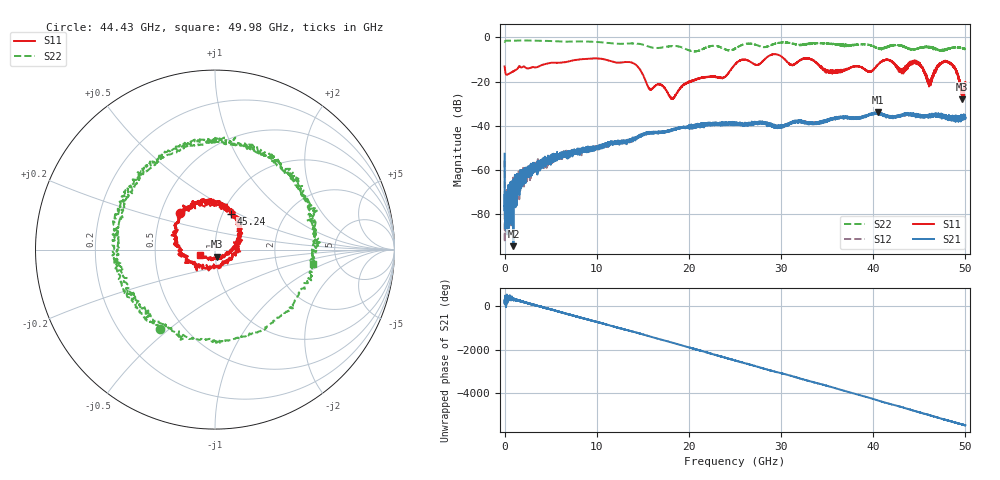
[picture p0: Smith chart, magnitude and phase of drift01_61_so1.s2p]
!Created with skrf (http://scikit-rf.org).
# Hz S RI R 50.0
!freq ReS11 ImS11 ReS21 ImS21 ReS12 ImS12 ReS22 ImS22
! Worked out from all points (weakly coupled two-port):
!   10001 points, 300 kHz to 50 GHz, reference 50 ohm
!   highest |S21| = -34.02 dB at 40.55 GHz (marker M1); lowest = -94.7 dB at 955.3 MHz (marker M2)
!   lowest |S11| = -28.0 dB at 49.67 GHz (marker M3), VSWR 1.08, Z = 50.7 - j3.95 ohm
!   |S11| at or under -10 dB: start of sweep to 8.038 GHz; 10.89 GHz to 25.88 GHz (14.99 GHz wide, 81.5 % of centre); 33.36 GHz to end of sweep (the widest 3 of 15)
!   |S22| runs from -6.4 to -1.4 dB; largest |S21 - S12| = 0.0042
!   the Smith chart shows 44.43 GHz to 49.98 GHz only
!   S11 on the Smith chart (normalised r, x): 44.43 GHz: 0.63, +0.28; 45.24 GHz: 1.10, +0.45; 49.98 GHz: 0.85, -0.05
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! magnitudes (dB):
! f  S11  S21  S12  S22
! 300 kHz  -13.2  -52.8  -55.9  -2.1
! 255.3 MHz  -16.9  -71.3  -84.4  -1.4
! 955.3 MHz  -15.3  -94.7  -66.7  -1.5
! 3.335 GHz  -13.6  -58.5  -59.0  -1.5
! 8.335 GHz  -9.9  -51.4  -51.5  -1.8
! 13.8 GHz  -11.4  -46.2  -46.4  -2.7
! 15.74 GHz  -23.2  -43.8  -43.6  -4.2
! 16.67 GHz  -21.2  -43.2  -43.1  -4.8
! 18.23 GHz  -27.8  -41.8  -41.8  -3.9
! 25 GHz  -12.2  -39.1  -39.1  -5.0
! 33.34 GHz  -10.1  -38.7  -38.7  -2.7
! 35.38 GHz  -16.1  -37.1  -37.1  -2.9
! 40.55 GHz  -12.2  -34.0  -34.5  -5.1
! 41.67 GHz  -10.1  -35.8  -36.2  -4.1
! 43.03 GHz  -15.2  -35.1  -35.4  -3.8
! 44.43 GHz  -11.0  -35.3  -35.4  -5.4
! 45.24 GHz  -13.3  -35.5  -35.5  -4.6
! 46.11 GHz  -20.5  -35.6  -35.4  -4.6
! 48.22 GHz  -11.4  -36.3  -36.1  -5.1
! 49.67 GHz  -28.0  -36.3  -36.6  -4.9
! 49.98 GHz  -21.2  -36.3  -36.2  -5.2
! 50 GHz  -20.5  -36.5  -37.2  -5.3
